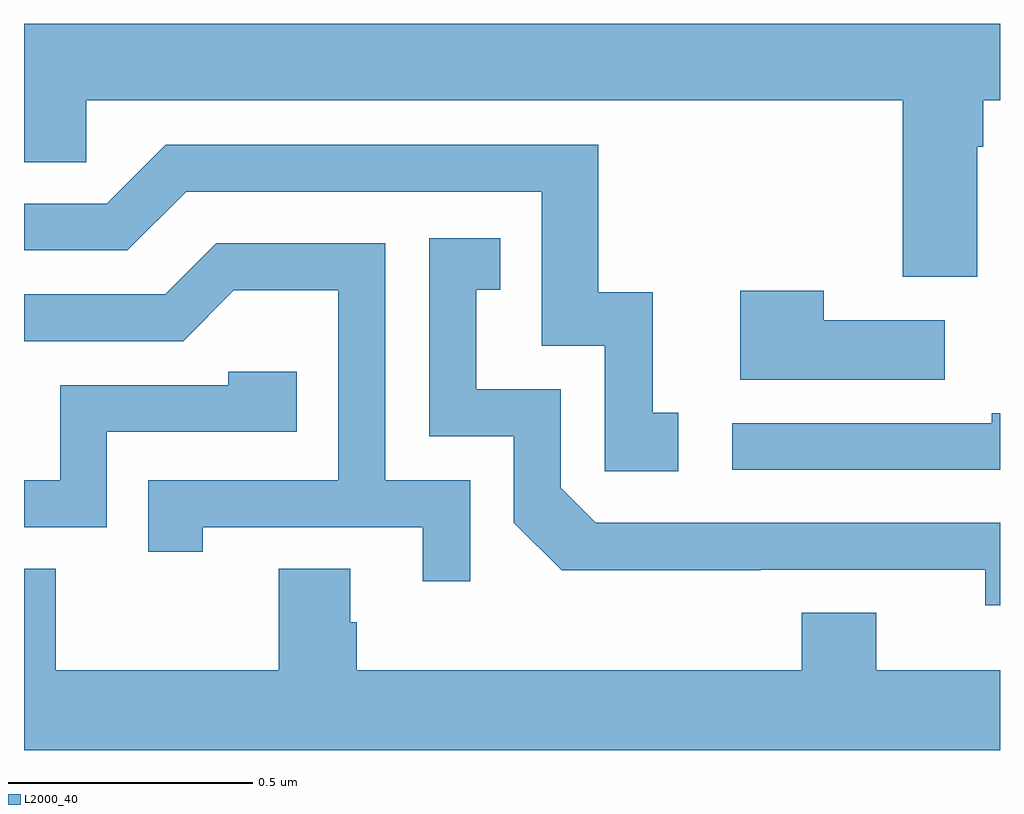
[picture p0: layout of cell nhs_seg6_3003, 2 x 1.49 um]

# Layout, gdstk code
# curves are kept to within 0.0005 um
import gdstk
lib = gdstk.Library(unit=1e-6, precision=1e-09)
def P(c, l, *ps):  # polygons
    for p in ps: c.add(gdstk.Polygon(p, *l))
L2000_40 = (2000, 40)

nhs_seg6_3003 = lib.new_cell('nhs_seg6_3003')
P(nhs_seg6_3003, L2000_40, [(151,939.217),(151.128,939.217),(151.128,939.344),(152.801,939.344),(152.801,938.982),(152.953,938.982),(152.953,939.248),(152.966,939.248),(152.966,939.344),(153,939.344),(153,939.5),(151,939.5)],
  [(152.341,938.703),(152.288,938.703),(152.288,938.95),(152.177,938.95),(152.177,939.252),(151.29,939.252),(151.17,939.132),(151,939.132),(151,939.036),(151.212,939.036),(151.332,939.156),(152.061,939.156),(152.061,938.841),(152.19,938.841),(152.19,938.583),(152.341,938.583)],
  [(153,938.478),(152.172,938.478),(152.1,938.55),(152.1,938.751),(151.927,938.751),(151.927,938.955),(151.976,938.955),(151.976,939.061),(151.83,939.061),(151.83,938.655),(152.004,938.655),(152.004,938.478),(152.102,938.381),(152.51,938.381),(152.51,938.382),(152.97,938.382),(152.97,938.309),(153,938.309)],
  [(151.914,938.565),(151.74,938.565),(151.74,939.051),(151.394,939.051),(151.289,938.946),(151,938.946),(151,938.85),(151.326,938.85),(151.43,938.954),(151.644,938.954),(151.644,938.565),(151.255,938.565),(151.255,938.418),(151.366,938.418),(151.366,938.469),(151.817,938.469),(151.817,938.358),(151.914,938.358)],
  [(152.887,938.893),(152.639,938.893),(152.639,938.953),(152.468,938.953),(152.468,938.771),(152.887,938.771)],
  [(151.17,938.664),(151.559,938.664),(151.559,938.787),(151.419,938.787),(151.419,938.76),(151.074,938.76),(151.074,938.565),(151,938.565),(151,938.469),(151.17,938.469)],
  [(153,938.702),(152.983,938.702),(152.983,938.682),(152.451,938.682),(152.451,938.586),(153,938.586)],
  [(153,938.176),(152.746,938.176),(152.746,938.293),(152.594,938.293),(152.594,938.176),(151.682,938.176),(151.682,938.274),(151.669,938.274),(151.669,938.384),(151.522,938.384),(151.522,938.176),(151.065,938.176),(151.065,938.384),(151,938.384),(151,938.012),(153,938.012)])

lib.write_gds('nhs_seg6_3003.gds')
